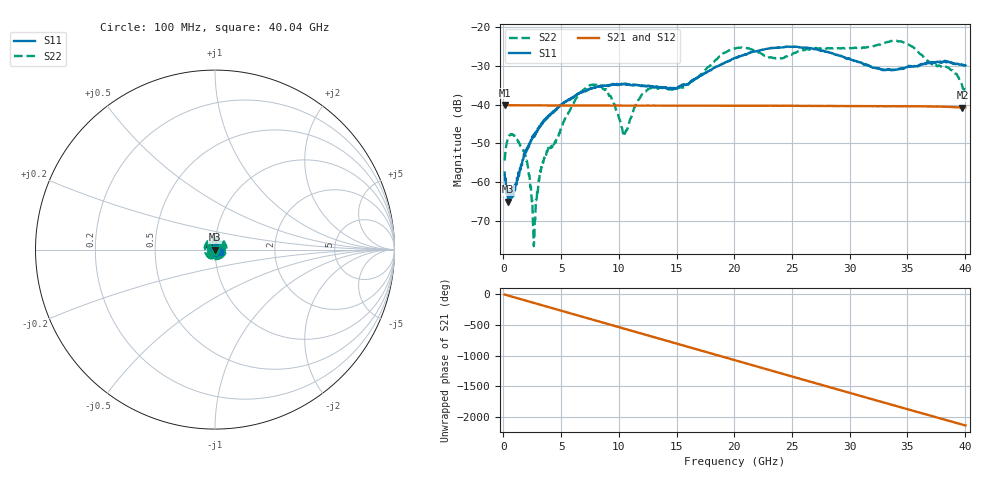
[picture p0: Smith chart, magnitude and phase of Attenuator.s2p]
# Hz S RI R 50.000000
! Metas.Vna.Tools, 2.9.9438.25149
! Metas.Vna.Data, 2.9.9438.25100
! Created: UTC 2026.07.06 09:11:27
! FREQ  re:S1,1  im:S1,1  re:S2,1  im:S2,1  re:S1,2  im:S1,2  re:S2,2  im:S2,2
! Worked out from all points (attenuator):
!   932 points, 100 MHz to 40.04 GHz, reference 50 ohm
!   highest |S21| = -40.10 dB at 142.9 MHz (marker M1); lowest = -40.8 dB at 39.78 GHz (marker M2)
!   lowest |S11| = -65.0 dB at 400.3 MHz (marker M3), VSWR 1.00, Z = 50 - j0.0519 ohm
!   |S11| at or under -10 dB: start of sweep to end of sweep
!   |S22| runs from -76.5 to -23.5 dB; largest |S21 - S12| = 0.00012
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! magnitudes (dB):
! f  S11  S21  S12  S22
! 100 MHz  -57.5  -40.2  -40.1  -54.4
! 142.9 MHz  -59.3  -40.1  -40.2  -53.0
! 400.3 MHz  -65.0  -40.1  -40.1  -48.6
! 915.1 MHz  -62.0  -40.2  -40.2  -48.1
! 1.859 GHz  -53.0  -40.2  -40.2  -52.9
! 2.588 GHz  -48.0  -40.2  -40.2  -72.7
! 2.717 GHz  -47.5  -40.2  -40.2  -69.8
! 3.103 GHz  -45.5  -40.2  -40.2  -59.5
! 3.575 GHz  -43.8  -40.2  -40.2  -53.7
! 6.792 GHz  -36.9  -40.2  -40.2  -36.6
! 8.895 GHz  -35.1  -40.2  -40.2  -36.1
! 10.52 GHz  -34.8  -40.2  -40.3  -47.3
! 11.98 GHz  -35.2  -40.3  -40.3  -37.6
! 13.44 GHz  -35.5  -40.3  -40.3  -35.8
! 15.72 GHz  -34.9  -40.3  -40.3  -35.4
! 20.09 GHz  -28.0  -40.3  -40.3  -25.5
! 23.78 GHz  -25.3  -40.3  -40.3  -28.1
! 26.74 GHz  -25.5  -40.3  -40.3  -25.5
! 33.39 GHz  -31.0  -40.4  -40.4  -23.8
! 38.54 GHz  -29.1  -40.6  -40.5  -30.5
! 39.78 GHz  -29.9  -40.8  -40.8  -35.3
! 40.04 GHz  -29.9  -40.7  -40.6  -36.0
